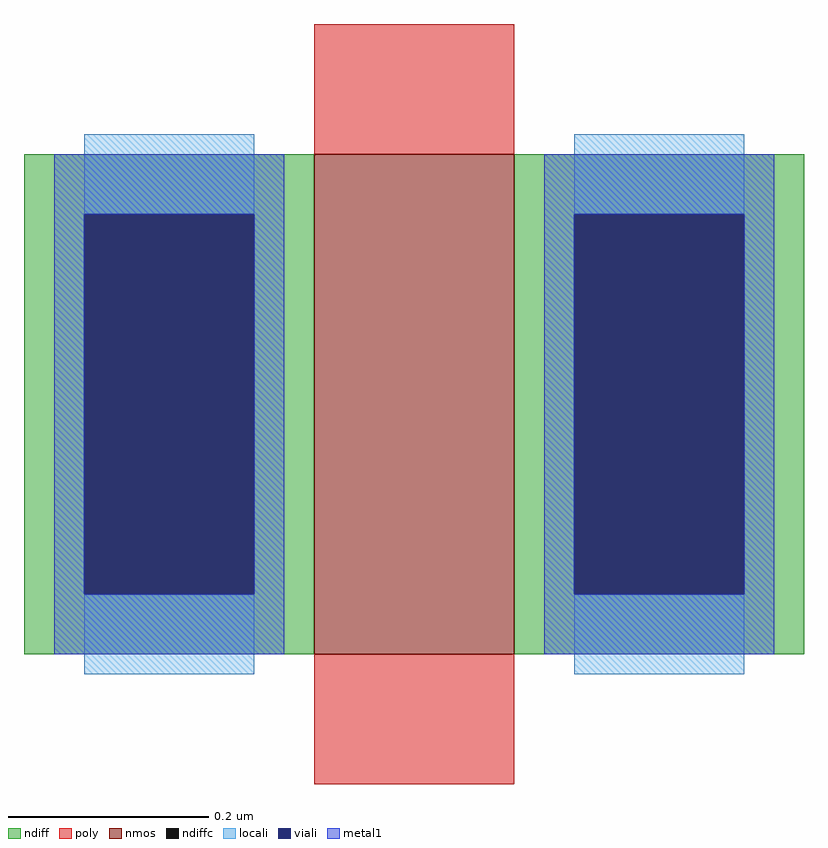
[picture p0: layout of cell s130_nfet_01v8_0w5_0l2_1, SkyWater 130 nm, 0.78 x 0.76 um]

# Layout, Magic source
magic
tech sky130A
<< nmos >>
rect -10 -25 10 25
<< ndiff >>
rect -39 19 -10 25
rect -39 -19 -33 19
rect -16 -19 -10 19
rect -39 -25 -10 -19
rect 10 19 39 25
rect 10 -19 16 19
rect 33 -19 39 19
rect 10 -25 39 -19
<< ndiffc >>
rect -33 -19 -16 19
rect 16 -19 33 19
<< poly >>
rect -10 25 10 38
rect -10 -38 10 -25
<< locali >>
rect -33 19 -16 27
rect -33 -27 -16 -19
rect 16 19 33 27
rect 16 -27 33 -19
<< viali >>
rect -33 -19 -16 19
rect 16 -19 33 19
<< metal1 >>
rect -36 19 -13 25
rect -36 -19 -33 19
rect -16 -19 -13 19
rect -36 -25 -13 -19
rect 13 19 36 25
rect 13 -19 16 19
rect 33 -19 36 19
rect 13 -25 36 -19
<< properties >>
string gencell sky130_fd_pr__nfet_01v8
string library sky130
string parameters w 0.5 l 0.2 m 1 nf 1 diffcov 100 polycov 100 guard 0 glc 1 grc 1 gtc 1 gbc 1 tbcov 100 rlcov 100 topc 0 botc 0 poverlap 0 doverlap 0 lmin 0.15 wmin 0.42 class mosfet compatible {sky130_fd_pr__nfet_01v8 sky130_fd_pr__nfet_01v8_lvt  sky130_fd_bs_flash__special_sonosfet_star  sky130_fd_pr__nfet_g5v0d10v5 sky130_fd_pr__nfet_05v0_nvt  sky130_fd_pr__nfet_03v3_nvt} full_metal 1 viasrc 100 viadrn 100 viagate 100 viagb 0 viagr 0 viagl 0 viagt 0
<< end >>
